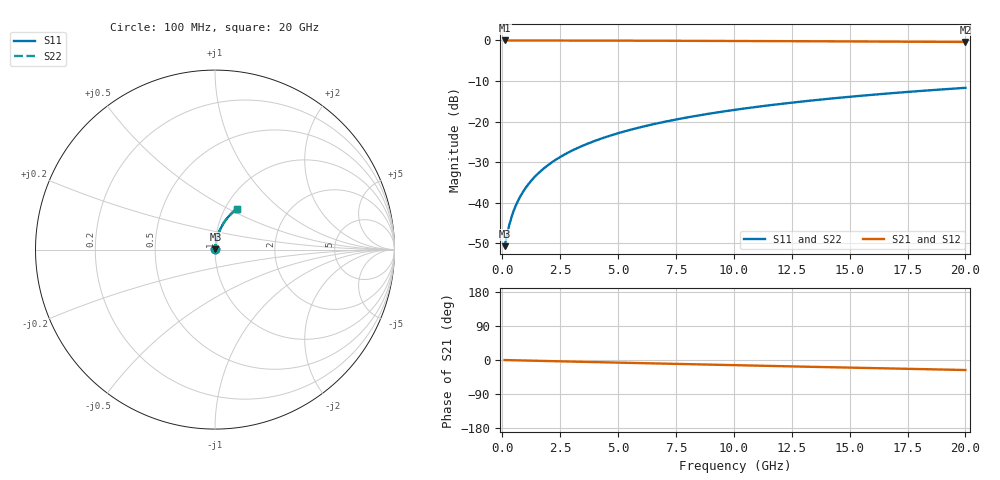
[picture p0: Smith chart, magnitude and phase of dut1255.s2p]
! Touchstone file exported from HFSS 2026.1.0
!  File:  C:/ffzhzh/LocalFiles/Ansys_Project_Files/temp_train_TMRDL_1255_1783163899_55132.aedt
!  Generated:  07:19:32 PM Jul  4, 2026
!  Design:  TMRDL
!  Project:  temp_train_TMRDL_1255_1783163899_55132
! Variables:
!  h_bsmrdl = 2um
!  h_ox = 20um
!  h_rdl = 5um
!  h_sub = 80um
!  h_tmrdl = 4.43um
!  h_tsv = 80um
!  h_via = 3um
!  l_bsmrdl = 300um
!  l_sub = 774.73um
!  l_tmrdl = 374.73um
!  m_sub = 200um
!  pitch = 32.68um
!  r_tsv = 6um
!  s_tmrdl = 10um
!  w_bsmrdl = 18um
!  w_sub = 500um
!  w_tmrdl = 12.66um
!  x_tsv_center1 = 381.06um
!  x_tsv_center2 = 699.06um
!  x_tsv_center3 = 1086.45um
!  x_tsv_center4 = 1404.45um
!  x_tsv_center5 = 1791.84um
!  x_tsv_center6 = 2109.84um
# GHz S MA R 50.000000
! Terminal data exported
! Port[1] = TM_RDL1_1_T1
! Port[2] = TM_RDL1_1_T2
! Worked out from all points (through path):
!   200 points, 100 MHz to 20 GHz, reference 50 ohm
!   highest |S21| = -0.02 dB at 100 MHz (marker M1); lowest = -0.4 dB at 20 GHz (marker M2)
!   group delay of S21, straight-line fit = 3.67 ps
!   lowest |S11| = -50.7 dB at 100 MHz (marker M3), VSWR 1.01, Z = 50.2 + j0.156 ohm
!   |S11| at or under -10 dB: start of sweep to end of sweep
!   |S22| runs from -50.7 to -11.7 dB; largest |S21 - S12| = 2.7e-15
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0.1  0.002918 32.2  0.9975 -0.1  0.9975 -0.1  0.002918 32.2
! Gamma 0 0 0 0
! Port Impedance 50 0 50 0
0.2  0.003998 50.7  0.9975 -0.3  0.9975 -0.3  0.003998 50.7
0.3  0.005296 60.3  0.9974 -0.4  0.9974 -0.4  0.005296 60.3
0.4  0.006664 65.9  0.9973 -0.6  0.9973 -0.6  0.006665 65.9
0.5  0.008056 69.5  0.9972 -0.7  0.9972 -0.7  0.008057 69.5
0.6  0.009459 72.0  0.9972 -0.9  0.9972 -0.9  0.00946 72.0
0.8  0.01228 75.3  0.9971 -1.1  0.9971 -1.1  0.01228 75.3
1.1  0.01654 78.0  0.9969 -1.5  0.9969 -1.5  0.01654 78.0
1.3  0.0194 79.1  0.9968 -1.8  0.9968 -1.8  0.0194 79.1
1.6  0.02369 80.1  0.9966 -2.2  0.9966 -2.2  0.0237 80.1
2.1  0.03086 80.9  0.9963 -2.9  0.9963 -2.9  0.03086 80.9
2.7  0.03945 81.1  0.9957 -3.8  0.9957 -3.8  0.03945 81.1
3.5  0.05082 80.7  0.9948 -4.9  0.9948 -4.9  0.05082 80.7
4.2  0.06068 80.1  0.9939 -5.8  0.9939 -5.8  0.06068 80.1
5  0.07184 79.3  0.9927 -6.9  0.9927 -6.9  0.07184 79.3
5.9  0.08425 78.3  0.9913 -8.1  0.9913 -8.1  0.08425 78.3
6.8  0.0965 77.3  0.9897 -9.4  0.9897 -9.4  0.0965 77.3
8.3  0.1166 75.5  0.9868 -11.4  0.9868 -11.4  0.1166 75.5
10.1  0.1402 73.3  0.983 -13.7  0.983 -13.7  0.1402 73.3
13.4  0.1822 69.3  0.975 -18.1  0.975 -18.1  0.1822 69.3
16.7  0.2223 65.4  0.9658 -22.3  0.9658 -22.3  0.2222 65.3
20  0.2603 61.4  0.9557 -26.4  0.9557 -26.4  0.2603 61.4
